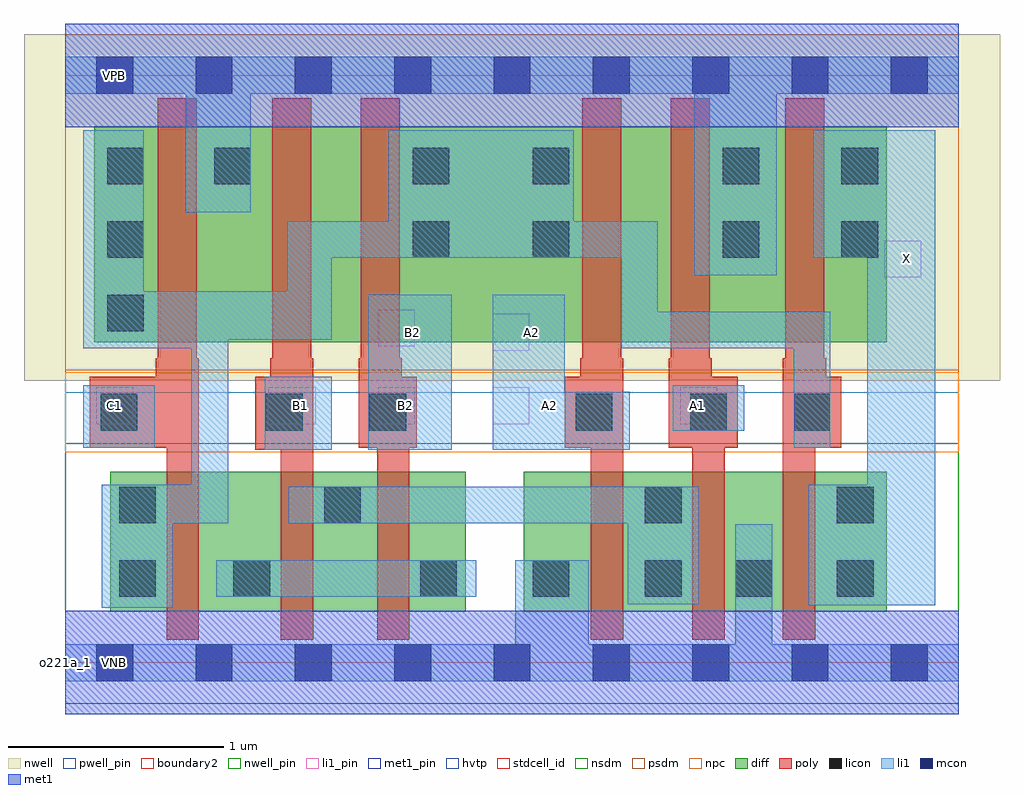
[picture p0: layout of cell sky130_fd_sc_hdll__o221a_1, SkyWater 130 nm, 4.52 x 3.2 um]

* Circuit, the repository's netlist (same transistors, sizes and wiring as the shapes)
* Copyright 2020 The SkyWater PDK Authors
*
* Licensed under the Apache License, Version 2.0 (the "License");
* you may not use this file except in compliance with the License.
* You may obtain a copy of the License at
*
*     https://www.apache.org/licenses/LICENSE-2.0
*
* Unless required by applicable law or agreed to in writing, software
* distributed under the License is distributed on an "AS IS" BASIS,
* WITHOUT WARRANTIES OR CONDITIONS OF ANY KIND, either express or implied.
* See the License for the specific language governing permissions and
* limitations under the License.
*
* SPDX-License-Identifier: Apache-2.0

.SUBCKT sky130_fd_sc_hdll__o221a_1 A1 A2 B1 B2 C1 VGND VNB VPB VPWR X
*.PININFO A1:I A2:I B1:I B2:I C1:I VGND:I VNB:I VPB:I VPWR:I X:O
MMPA0 VPWR A1 sndA1 VPB sky130_fd_pr__pfet_01v8_hvt m=1 w=1.0U l=0.18U mult=1 sa=0.265
+ sb=0.265 sd=0.28 area=0.063 perim=1.14
MMPA1 sndA1 A2 y VPB sky130_fd_pr__pfet_01v8_hvt m=1 w=1.0U l=0.18U mult=1 sa=0.265
+ sb=0.265 sd=0.28 area=0.063 perim=1.14
MMPB0 VPWR B1 sndB1 VPB sky130_fd_pr__pfet_01v8_hvt m=1 w=1.0U l=0.18U mult=1 sa=0.265
+ sb=0.265 sd=0.28 area=0.063 perim=1.14
MMPB1 sndB1 B2 y VPB sky130_fd_pr__pfet_01v8_hvt m=1 w=1.0U l=0.18U mult=1 sa=0.265
+ sb=0.265 sd=0.28 area=0.063 perim=1.14
MMPC0 VPWR C1 y VPB sky130_fd_pr__pfet_01v8_hvt m=1 w=1.0U l=0.18U mult=1 sa=0.265
+ sb=0.265 sd=0.28 area=0.063 perim=1.14
MMIPX X y VPWR VPB sky130_fd_pr__pfet_01v8_hvt m=1 w=1.0U l=0.18U mult=1 sa=0.265
+ sb=0.265 sd=0.28 area=0.063 perim=1.14
MMNA0 pndA A1 VGND VNB sky130_fd_pr__nfet_01v8 m=1 w=0.65U l=0.15U mult=1 sa=0.265
+ sb=0.265 sd=0.28 area=0.063 perim=1.14
MMNA1 pndA A2 VGND VNB sky130_fd_pr__nfet_01v8 m=1 w=0.65U l=0.15U mult=1 sa=0.265
+ sb=0.265 sd=0.28 area=0.063 perim=1.14
MMNB0 pndB B1 pndA VNB sky130_fd_pr__nfet_01v8 m=1 w=0.65U l=0.15U mult=1 sa=0.265
+ sb=0.265 sd=0.28 area=0.063 perim=1.14
MMNB1 pndB B2 pndA VNB sky130_fd_pr__nfet_01v8 m=1 w=0.65U l=0.15U mult=1 sa=0.265
+ sb=0.265 sd=0.28 area=0.063 perim=1.14
MMNC0 y C1 pndB VNB sky130_fd_pr__nfet_01v8 m=1 w=0.65U l=0.15U mult=1 sa=0.265
+ sb=0.265 sd=0.28 area=0.063 perim=1.14
MMINX X y VGND VNB sky130_fd_pr__nfet_01v8 m=1 w=0.65U l=0.15U mult=1 sa=0.265
+ sb=0.265 sd=0.28 area=0.063 perim=1.14
.ENDS sky130_fd_sc_hdll__o221a_1

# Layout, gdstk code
import gdstk
lib = gdstk.Library(unit=1e-6, precision=1e-09)
def R(c, l, rs):  # rectangles x0, y0, x1, y1
    for r in rs: c.add(gdstk.rectangle(r[:2], r[2:], *l))
def A(c, l, x, y, w, h, nx, ny, dx, dy):  # array of equal rectangles
    R(c, l, [(x+i*dx, y+j*dy, x+i*dx+w, y+j*dy+h) for i in range(nx) for j in range(ny)])
def P(c, l, *ps):  # polygons
    for p in ps: c.add(gdstk.Polygon(p, *l))
nwell_pin = (64, 16)
nwell = (64, 20)
diff = (65, 20)
poly = (66, 20)
licon = (66, 44)
li1_pin = (67, 16)
li1 = (67, 20)
mcon = (67, 44)
met1_pin = (68, 16)
met1 = (68, 20)
hvtp = (78, 44)
stdcell_id = (81, 4)
nsdm = (93, 44)
psdm = (94, 20)
npc = (95, 20)
pwell_pin = (122, 16)
boundary2 = (236, 0)

sky130_fd_sc_hdll__o221a = lib.new_cell('sky130_fd_sc_hdll__o221a_1')
R(sky130_fd_sc_hdll__o221a, nwell_pin, [(0.145,2.635,0.315,2.805)])
R(sky130_fd_sc_hdll__o221a, nwell, [(-0.19,1.305,4.33,2.91)])
R(sky130_fd_sc_hdll__o221a, diff, [(0.21,0.235,1.855,0.885), (2.125,0.235,3.805,0.885), (0.135,1.485,3.805,2.485)])
P(sky130_fd_sc_hdll__o221a, poly, [(0.62,1.41),(0.61,1.41),(0.61,2.615),(0.43,2.615),(0.43,1.41),(0.42,1.41),(0.42,1.325),(0.115,1.325),(0.115,0.995),(0.47,0.995),(0.47,0.105),(0.62,0.105)],
  [(1.15,1.41),(1.14,1.41),(1.14,2.615),(0.96,2.615),(0.96,1.41),(0.95,1.41),(0.95,1.325),(0.88,1.325),(0.88,0.985),(1,0.985),(1,0.105),(1.15,0.105)],
  [(1.63,1.325),(1.56,1.325),(1.56,1.41),(1.55,1.41),(1.55,2.615),(1.37,2.615),(1.37,1.41),(1.36,1.41),(1.36,0.995),(1.445,0.995),(1.445,0.105),(1.595,0.105),(1.595,0.995),(1.63,0.995)],
  [(2.585,1.41),(2.575,1.41),(2.575,2.615),(2.395,2.615),(2.395,1.41),(2.385,1.41),(2.385,1.325),(2.315,1.325),(2.315,0.995),(2.435,0.995),(2.435,0.105),(2.585,0.105)],
  [(3.115,1.325),(2.995,1.325),(2.995,1.41),(2.985,1.41),(2.985,2.615),(2.805,2.615),(2.805,1.41),(2.795,1.41),(2.795,0.995),(2.905,0.995),(2.905,0.105),(3.055,0.105),(3.055,0.995),(3.115,0.995)],
  [(3.595,1.325),(3.525,1.325),(3.525,1.41),(3.515,1.41),(3.515,2.615),(3.335,2.615),(3.335,1.41),(3.325,1.41),(3.325,0.105),(3.475,0.105),(3.475,0.995),(3.595,0.995)])
A(sky130_fd_sc_hdll__o221a, licon, 1.645, 0.305, 0.17, 0.17, 3, 1, 0.52, 0)
A(sky130_fd_sc_hdll__o221a, licon, 0.195, 1.535, 0.17, 0.17, 1, 3, 0, 0.34)
R(sky130_fd_sc_hdll__o221a, licon, [(0.25,0.305,0.42,0.475), (0.78,0.305,0.95,0.475), (3.105,0.305,3.275,0.475), (3.575,0.305,3.745,0.475), (0.25,0.645,0.42,0.815), (1.2,0.645,1.37,0.815), (2.685,0.645,2.855,0.815), (3.575,0.645,3.745,0.815), (0.165,1.075,0.335,1.245), (0.93,1.075,1.1,1.245), (1.41,1.075,1.58,1.245), (2.365,1.075,2.535,1.245), (2.895,1.075,3.065,1.245), (3.375,1.075,3.545,1.245), (1.61,1.875,1.78,2.045), (2.165,1.875,2.335,2.045), (3.045,1.875,3.215,2.045), (3.595,1.875,3.765,2.045), (0.69,2.215,0.86,2.385), (1.61,2.215,1.78,2.385), (2.165,2.215,2.335,2.385), (3.045,2.215,3.215,2.385), (3.595,2.215,3.765,2.385)])
R(sky130_fd_sc_hdll__o221a, li1_pin, [(0.145,1.105,0.315,1.275), (0.94,1.105,1.16,1.275), (1.45,1.105,1.62,1.275), (1.98,1.105,2.15,1.275), (2.85,1.105,3.02,1.275), (1.98,1.445,2.15,1.615), (1.45,1.465,1.62,1.635), (3.795,1.785,3.965,1.955)])
R(sky130_fd_sc_hdll__o221a, li1, [(0.7,0.305,1.905,0.475), (0.925,0.985,1.235,1.325), (1.405,0.985,1.79,1.705), (0.085,0.995,0.415,1.285), (2.815,1.075,3.145,1.285)])
P(sky130_fd_sc_hdll__o221a, li1, [(4.14,0.085),(3.275,0.085),(3.275,0.64),(3.105,0.64),(3.105,0.085),(2.425,0.085),(2.425,0.475),(2.085,0.475),(2.085,0.085),(0,0.085),(0,-0.085),(4.14,-0.085)],
  [(4.14,2.805),(0,2.805),(0,2.635),(0.56,2.635),(0.56,2.085),(0.86,2.085),(0.86,2.635),(2.915,2.635),(2.915,1.795),(3.295,1.795),(3.295,2.635),(4.14,2.635)],
  [(2.615,1.255),(2.315,1.255),(2.315,1.705),(1.98,1.705),(1.98,0.985),(2.615,0.985)],
  [(2.935,0.815),(1.035,0.815),(1.035,0.645),(2.605,0.645),(2.605,0.27),(2.935,0.27)],
  [(3.545,1.625),(2.745,1.625),(2.745,2.045),(2.355,2.045),(2.355,2.465),(1.5,2.465),(1.5,2.045),(1.03,2.045),(1.03,1.72),(0.365,1.72),(0.365,2.465),(0.085,2.465),(0.085,1.455),(0.585,1.455),(0.585,0.825),(0.17,0.825),(0.17,0.255),(0.5,0.255),(0.5,0.645),(0.755,0.645),(0.755,1.495),(1.235,1.495),(1.235,1.875),(2.575,1.875),(2.575,1.455),(3.375,1.455),(3.375,0.995),(3.545,0.995)],
  [(4.03,2.465),(3.465,2.465),(3.465,1.875),(3.715,1.875),(3.715,0.825),(3.445,0.825),(3.445,0.265),(4.03,0.265)])
A(sky130_fd_sc_hdll__o221a, mcon, 0.145, -0.085, 0.17, 0.17, 9, 2, 0.46, 2.72)
R(sky130_fd_sc_hdll__o221a, met1_pin, [(0.145,-0.085,0.315,0.085), (0.145,2.635,0.315,2.805)])
R(sky130_fd_sc_hdll__o221a, met1, [(0,-0.24,4.14,0.24), (0,2.48,4.14,2.96)])
R(sky130_fd_sc_hdll__o221a, hvtp, [(0,1.25,4.14,2.72)])
R(sky130_fd_sc_hdll__o221a, stdcell_id, [(0,0,4.14,2.72)])
R(sky130_fd_sc_hdll__o221a, nsdm, [(0,-0.19,4.14,1.015)])
R(sky130_fd_sc_hdll__o221a, psdm, [(0,1.355,4.14,2.91)])
R(sky130_fd_sc_hdll__o221a, npc, [(0,0.975,4.14,1.345)])
R(sky130_fd_sc_hdll__o221a, pwell_pin, [(0.145,-0.085,0.315,0.085)])
R(sky130_fd_sc_hdll__o221a, boundary2, [(0,0,4.14,2.72)])
sky130_fd_sc_hdll__o221a.add(gdstk.Label('A2', (2.245,1.19), layer=67, texttype=5))
sky130_fd_sc_hdll__o221a.add(gdstk.Label('X', (3.895,1.87), layer=67, texttype=5))
sky130_fd_sc_hdll__o221a.add(gdstk.Label('B1', (1.09,1.19), layer=67, texttype=5))
sky130_fd_sc_hdll__o221a.add(gdstk.Label('C1', (0.23,1.19), layer=67, texttype=5))
sky130_fd_sc_hdll__o221a.add(gdstk.Label('A1', (2.93,1.19), layer=67, texttype=5))
sky130_fd_sc_hdll__o221a.add(gdstk.Label('A2', (2.16,1.53), layer=67, texttype=5))
sky130_fd_sc_hdll__o221a.add(gdstk.Label('B2', (1.575,1.19), layer=67, texttype=5))
sky130_fd_sc_hdll__o221a.add(gdstk.Label('B2', (1.61,1.53), layer=67, texttype=5))
sky130_fd_sc_hdll__o221a.add(gdstk.Label('VPB', (0.23,2.72), layer=64, texttype=5))
sky130_fd_sc_hdll__o221a.add(gdstk.Label('VNB', (0.23,0), layer=64, texttype=59))
sky130_fd_sc_hdll__o221a.add(gdstk.Label('VGND', (0.23,0), layer=68, texttype=5))
sky130_fd_sc_hdll__o221a.add(gdstk.Label('VPWR', (0.23,2.72), layer=68, texttype=5))
sky130_fd_sc_hdll__o221a.add(gdstk.Label('o221a_1', (0,0), layer=83, texttype=44))

lib.write_gds('sky130_fd_sc_hdll__o221a_1.gds')
